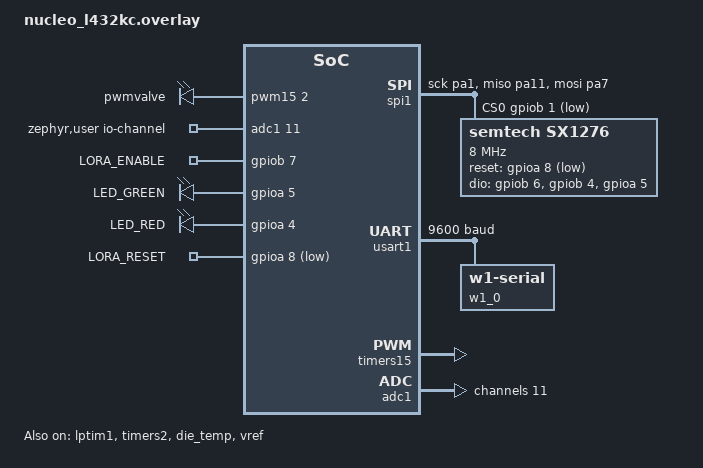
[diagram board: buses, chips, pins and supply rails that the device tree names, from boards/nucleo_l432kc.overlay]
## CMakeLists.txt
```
# SPDX-License-Identifier: Apache-2.0

cmake_minimum_required(VERSION 3.20.0)
find_package(Zephyr REQUIRED HINTS $ENV{ZEPHYR_BASE})
project(nucleo_l432kc_program)

target_sources(app PRIVATE src/main.c)
```

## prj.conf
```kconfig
CONFIG_PINCTRL=y
CONFIG_GPIO=y
CONFIG_PWM=y

CONFIG_LORA=y
CONFIG_LORA_SX127X=y

CONFIG_SPI=y

CONFIG_CBPRINTF_FP_SUPPORT=y


# Enables deep sleep modes
CONFIG_PM=y                   # Enable power management
CONFIG_PM_DEVICE=y            # For device power management
CONFIG_PM_DEVICE_RUNTIME=y
CONFIG_PM_DEVICE_SYSTEM_MANAGED=y
CONFIG_TICKLESS_KERNEL=y
CONFIG_STM32_LPTIM_TIMER=y

CONFIG_COUNTER=y

# for the 1-wire temperature sensor
CONFIG_SENSOR=y
CONFIG_W1=y

CONFIG_ADC=y

CONFIG_LOG=y
CONFIG_LOG_DEFAULT_LEVEL=3
```

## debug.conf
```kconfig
# Copyright (c) 2021 Nordic Semiconductor ASA
# SPDX-License-Identifier: Apache-2.0
#
# This is a Kconfig fragment which can be used to enable debug-related options
# in the application. See the README for more details.

# compiler
CONFIG_DEBUG_OPTIMIZATIONS=n

# logging
CONFIG_LOG=n
CONFIG_APP_LOG_LEVEL_DBG=n
```

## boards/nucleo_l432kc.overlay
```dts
// DO NOT FORGET TO REMOVE SB9 JUMPER ON THE NUCLEO BOARD

/* SX1276 LoRa module connected to Nucleo-L432KC over SPI1 */
&spi1 {
    status = "okay";
    cs-gpios = <&gpiob 1 GPIO_ACTIVE_LOW>; 
    pinctrl-0 = < &spi1_sck_pa1 &spi1_miso_pa11 &spi1_mosi_pa7 >;
    lora0: sx1276@0 {
        compatible = "semtech,sx1276";
        reg = <0>;
        label = "SX1276";
        spi-max-frequency = <DT_FREQ_M(8)>;
        status = "okay";
        reset-gpios = <&gpioa 8 GPIO_ACTIVE_LOW>;  
        dio-gpios = <&gpiob 6 (GPIO_PULL_DOWN | GPIO_ACTIVE_HIGH)>,
                    <&gpiob 4 (GPIO_PULL_DOWN | GPIO_ACTIVE_HIGH)>,
                    <&gpioa 5 (GPIO_PULL_DOWN | GPIO_ACTIVE_HIGH)>;
        power-amplifier-output = "pa-boost";
        //dio3-tcxo-voltage = <SX126X_DIO3_TCXO_1V8>;
    };
};


&usart1_tx_pa9 {
	drive-open-drain;
	bias-pull-up;
    slew-rate = "very-high-speed";
};

&can1 {
    status = "disabled";
};

&i2c1 {
    status = "disabled";
};


&lptim1 {
    status = "okay";
};


&usart1 {
    status = "okay";
    single-wire;
    current-speed = <9600>;
    w1_0: w1-zephyr-serial-0 {
		compatible = "zephyr,w1-serial";
		#address-cells = <1>;
		#size-cells = <0>;
		status = "okay";

		ds18b20-0 {
            label = "SENSOR_DS18B20_0";
            compatible = "maxim,ds18b20";
            family-code = <0x28>;
            resolution = <12>;
            status = "okay";
        };
        
        
        ds18b20-1 {
            label = "SENSOR_DS18B20_1";
            compatible = "maxim,ds18b20";
            family-code = <0x28>;
            resolution = <12>;
            status = "okay";
        };

        ds18b20-2 {
            label = "SENSOR_DS18B20_2";
            compatible = "maxim,ds18b20";
            family-code = <0x28>;
            resolution = <12>;
            status = "okay";
        };
       
        
        // already having two nodes in the device tree is enough
        // to start identifying multiple devices on the bus 
        // with their ROMs
	};
};

&rtc {
    status = "disabled";
    //clocks = <&rcc STM32_CLOCK(APB1, 10U)>;
    //wakeup-source;
};

&timers6{
    status = "disabled";
};

&timers2{
    status = "okay";
    st,prescaler = <7999>;// will count with ticks of 0.1ms
    counter2: counter{
        compatible = "st,stm32-counter";
        status = "okay";
    };
};

&timers15{
    st,prescaler = <79>;
    status = "okay";
    pwm15: pwm{
        compatible = "st,stm32-pwm";
        status = "okay";
        pinctrl-0 = <&tim15_ch2_pa3>;
        pinctrl-names = "default";
    };
};

&die_temp{
    status = "okay";
};

&adc1{
    status = "okay";
    st,adc-clock-source = "SYNC";
    st,adc-prescaler = < 4 >;
    #address-cells = <1>;
	#size-cells = <0>;
    vref-mv = <3300>;
    channel@b{
        reg = <11>;
        zephyr,gain = "ADC_GAIN_1";
		zephyr,reference = "ADC_REF_INTERNAL";
		zephyr,acquisition-time = <ADC_ACQ_TIME_DEFAULT>;
		zephyr,resolution = <12>;
    };
};

&vref {
    status = "okay";
};

/ {
    pwmleds: pwmleds{
        compatible = "pwm-leds";
        status = "okay";
        pwmvalve: tim15_ch2n_pwm{
            pwms = <&pwm15 2 PWM_MSEC(2) PWM_POLARITY_NORMAL>;
        };
    };
    aliases {
        lora0 = &lora0;
        rtc0 = &rtc;
        lora-en-pin = &lora_en;
        lora-reset-pin = &lore_reset;
        led-green-pin = &led_green;
        led-red-pin = &led_red;
        die-temp0 = &die_temp;
    };

    chosen{
        zephyr,rtc = &rtc;

        //zephyr,cortex-m-idle-timer = &rtc;
    };

    zephyr,user{
        io-channels = <&adc1 11>;
    };

    leds{
        compatible = "gpio-leds";
        status = "okay";

        lora_en: lora-en{
            gpios = <&gpiob 7 GPIO_ACTIVE_HIGH>;
            label = "LORA_ENABLE";
        };

        led_green: led-green{
            gpios = <&gpioa 5 GPIO_ACTIVE_HIGH>;
            label = "LED_GREEN";
        };

        led_red: led-red{
            gpios = <&gpioa 4 GPIO_ACTIVE_HIGH>;
            label = "LED_RED";
        };

        lore_reset: lora-reset{
            gpios = <&gpioa 8 GPIO_ACTIVE_LOW>;
            label = "LORA_RESET";
        };
    };

};
```

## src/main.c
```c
/*
 * Copyright (c) 2019 Nordic Semiconductor ASA
 *
 * SPDX-License-Identifier: Apache-2.0
 */

#include <zephyr/kernel.h>
#include <zephyr/device.h>
#include <zephyr/pm/device_runtime.h>
#include <zephyr/pm/pm.h>

#include <zephyr/drivers/gpio.h>
#include <zephyr/drivers/pwm.h>
#include <zephyr/drivers/lora.h>
#include <zephyr/drivers/counter.h>
#include <zephyr/drivers/sensor.h>
#include <zephyr/drivers/w1.h>
#include <zephyr/drivers/sensor/w1_sensor.h>
#include <zephyr/drivers/adc.h> 

#include <zephyr/sys/util.h>
#include <zephyr/sys/byteorder.h>


// Here is a description of what this program will do:
// It will mostly be asleep. Every 5 minutes it will wake up, measure the
// temperature(s), activate the valve if necessary (remember how long it
// opened that for), and send a LoRa packet with the temperature(s) and
// valve opening duration. After sending this LoRa packet, it might get
// a reply packet with new settings.




//---------------------------- DEFINES ----------------------------------------
// comment out this line to disable debug prints
#define DEBUGGING 1

// kinds of algorithms:
// 1: simple threshold-based control
// 2: ERT calculating control
#define CONTROL_ALGORITHM 1

// this defines the maximum length of a LoRa packet
#define LORA_MAX_PACKET_LEN 32

#define NUMBER_OF_TEMP_SENSORS 3

#define PWM_PHASE_FREQUENCY 250
#define PWM_TIMER_FREQUENCY 1000000

#if !DT_NODE_EXISTS(DT_PATH(zephyr_user)) || \
	!DT_NODE_HAS_PROP(DT_PATH(zephyr_user), io_channels)
#error "No suitable devicetree overlay specified"
#endif

#define DT_SPEC_AND_COMMA(node_id, prop, idx) \
	ADC_DT_SPEC_GET_BY_IDX(node_id, idx),
//------------------------ DEVICETREE INSTANCES -------------------------------

// LORA RADIO
#define LORA_NODE DT_ALIAS(lora0)
const struct device *const lora_dev = DEVICE_DT_GET(LORA_NODE);

// ONBOARD LEDs
#define LED_RED_NODE DT_ALIAS(led_red_pin)
static const struct gpio_dt_spec led_red = GPIO_DT_SPEC_GET(LED_RED_NODE, gpios);

#define LED_GREEN_NODE DT_ALIAS(led_green_pin)
static const struct gpio_dt_spec led_green = GPIO_DT_SPEC_GET(LED_GREEN_NODE, gpios);

// LORA RESET PIN
#define LORA_RESET_NODE DT_ALIAS(lora_reset_pin)
static const struct gpio_dt_spec lora_reset = GPIO_DT_SPEC_GET(LORA_RESET_NODE, gpios);

// CONSOLE UART
const struct device* const usart1_dev = DEVICE_DT_GET(DT_NODELABEL(usart1));

// COUNTER
const struct device *counter_dev = DEVICE_DT_GET(DT_NODELABEL(counter2));

// PWM
static const struct pwm_dt_spec pwm_dev = PWM_DT_SPEC_GET(DT_NODELABEL(pwmvalve));

// ADC (for battery voltage measurement)
static const struct adc_dt_spec adc_channels[] = {
	DT_FOREACH_PROP_ELEM(DT_PATH(zephyr_user), io_channels,
			     DT_SPEC_AND_COMMA)
};

// DIE TEMPERATURE
#define DIE_TEMP_NODE DT_ALIAS(die_temp0)
static const struct device *const die_temp_sensor = DEVICE_DT_GET(DIE_TEMP_NODE);

// VALVE IO
uint32_t pwm_period_in_ns = PWM_TIMER_FREQUENCY / PWM_PHASE_FREQUENCY;

//----------------------- USERSPACE VARIABLES ---------------------------------
uint8_t lora_tx_buffer[LORA_MAX_PACKET_LEN];
uint8_t lora_rx_buffer[LORA_MAX_PACKET_LEN];


// LORA config
struct lora_modem_config lora_configuration = {
	// these have to match the gateway settings!
	.frequency = 433000000,
	.bandwidth = BW_125_KHZ,
	.datarate = SF_10,
	.preamble_len = 8,
	.coding_rate = CR_4_5,
	.iq_inverted = false,
	.public_network = false,
	.tx_power = 20,
	.tx = true
};

// simple variable to hold return values
int ret;

volatile uint32_t one_second_counter = 0;
uint32_t counter_frequency;
uint16_t counter_top_value;
struct counter_alarm_cfg alarm_cfg;


// ADC variables
uint16_t adc_measurement_buffer;
struct adc_sequence sequence = {
	.buffer = &adc_measurement_buffer,
	/* buffer size in bytes, not number of samples */
	.buffer_size = sizeof(adc_measurement_buffer),
};
int32_t val_mv;
uint32_t battery_voltage_mv;

// die temperature variables
struct sensor_value die_temp;
float die_temp_celsius;

// tank temperature measurement variables
#define NUMBER_OF_TEMPERATURE_SENSORS 3
const struct device* temp_sensor_devices[NUMBER_OF_TEMPERATURE_SENSORS];
struct sensor_value temp;
struct w1_rom w1_roms[NUMBER_OF_TEMPERATURE_SENSORS];
struct sensor_value rom_values[NUMBER_OF_TEMPERATURE_SENSORS];
uint64_t rom_addresses[NUMBER_OF_TEMPERATURE_SENSORS] = {
	// TODO: THESE ARE TEMPORARY
	0x28f8a2bb00000078, // top
	0x282091c0000000eb, // middle
	0x28a91e470000006c // botttom
};
double tank_temperatures[NUMBER_OF_TEMP_SENSORS];


// control variables
#if CONTROL_ALGORITHM == 1
double tank_temperature_threshold = 70;
#endif

#if CONTROL_ALGORITHM == 2
// we need a large array of doubles to hold the ERT history
// there should be enough to look through the night?
float ert_history[128]; 
uint8_t ert_history_index = 0;
#endif



//------------------------ FUNCTION DEFINITIONS ----------------------------------

// kernel sleep forces the system to enter some power
// saving mode, use this delay instead if you don't want that
// but we do want to save power so do not use this function
static inline void blocking_sleep_ms(uint32_t ms_amount){
	uint32_t increments = ms_amount*1000*300/38;
    for(uint32_t i = 0; i < increments; i++);
}


static void counter_interrupt_callback(const struct device *dev,
                                       void *user_data) {
  // 1 second has elapsed
  one_second_counter++;
  #ifdef DEBUGGING
  //printk("Counter interrupt callback called! one_second_counter = %u\n", one_second_counter);
  #endif
}


#if CONTROL_ALGORITHM == 2
double calculate_ert(double current_temp){
	// some stuff with logarithms. The calculation is in my notebook
}
#endif

//---------------------------- MAIN FUNCTION -----------------------------------
int main(void)
{
	// CONFIGURE PERIPHERALS
	ret = pwm_set_dt(&pwm_dev, pwm_period_in_ns, 0); // turn off PWM
	gpio_pin_configure_dt(&led_red, GPIO_OUTPUT_ACTIVE);
	gpio_pin_configure_dt(&led_green, GPIO_OUTPUT_ACTIVE);
	k_msleep(1000); // wait for things to stabilize

	// DEVICE BINDINGS (TEMPERATURE SENSORS)
	temp_sensor_devices[0] =  device_get_binding("SENSOR_DS18B20_0");
	temp_sensor_devices[1] =  device_get_binding("SENSOR_DS18B20_1");
	temp_sensor_devices[2] =  device_get_binding("SENSOR_DS18B20_2");

	for(int i = 0; i < NUMBER_OF_TEMP_SENSORS; i++){
		if (!temp_sensor_devices[i] || !device_is_ready(temp_sensor_devices[i])) {
			#ifdef DEBUGGING
			printk("DS18B20 sensor device %d is not ready or found.\n", i);
			#endif
			return -1;
		}
	}

	for (int i = 0; i < NUMBER_OF_TEMP_SENSORS; i++) {
		w1_uint64_to_rom(rom_addresses[i], &w1_roms[i]);
		w1_rom_to_sensor_value(&w1_roms[i], &rom_values[i]);
	}


	// ADC SETUP
	if (!adc_is_ready_dt(&adc_channels[0])) {
		#ifdef DEBUGGING
		printk("ADC controller device %s not ready\n", adc_channels[0].dev->name);
		#endif
	}

	ret = adc_channel_setup_dt(&adc_channels[0]);
	if (ret < 0) {
		#ifdef DEBUGGING
		printk("Could not setup ADC channel (%d)\n", ret);
		#endif
	}


	while(1){
		#ifdef DEBUGGING
		printk("Program has arrived at main\n");
		#endif


		// COUNTER INIT
		one_second_counter = 0;
		counter_frequency = counter_get_frequency(counter_dev);
		
		struct counter_top_cfg counter_cfg;
		counter_cfg.ticks = counter_frequency*1; // 1 second tops
		counter_cfg.callback = counter_interrupt_callback;
		counter_cfg.flags = 0;
		counter_cfg.user_data = NULL;
		ret = counter_set_top_value(counter_dev, &counter_cfg);
		if (ret != 0) {
			#ifdef DEBUGGING
			printk("Error %d setting counter top value\n", ret);
			#endif
		}
		
		counter_start(counter_dev);
		#ifdef DEBUGGING
		printk("Counter started\n");
		#endif
		// ENDOF: COUNTER INIT


		// LED initialization
		gpio_pin_set_dt(&led_red, 1);


		// GET BATTERY VOLTAGE

		(void)adc_sequence_init_dt(&adc_channels[0], &sequence);
		ret = adc_read_dt(&adc_channels[0], &sequence);
		if (ret < 0) {
			#ifdef DEBUGGING
			printk("Could not read (%d)\n", ret);
			#endif
		}

		val_mv = (int32_t)((int16_t)adc_measurement_buffer);
		ret = adc_raw_to_millivolts_dt(&adc_channels[0],&val_mv);

		if (ret < 0) {
			#ifdef DEBUGGING
			printk(" (value in mV not available)\n");
			#endif
		} else {
			float ratio = (12200.0f / 2200.0f); // voltage divider ratio
			battery_voltage_mv = (uint32_t)((float)val_mv * ratio);
			//battery_voltage_mv = battery_voltage_mv * 13.24/13.04; // calibration factor
			#ifdef DEBUGGING
			printk("Battery voltage reading: %d mV\n", battery_voltage_mv);
			#endif
		}
		// ENDOF: GET BATTERY VOLTAGE

		// GET DIE TEMPERATURE
		ret = sensor_sample_fetch(die_temp_sensor);
		if (ret != 0) {
			#ifdef DEBUGGING
			printk("sample_fetch() failed for die temp sensor: %d\n", ret);
			k_msleep(100);
			#endif
		}

		ret = sensor_channel_get(die_temp_sensor, SENSOR_CHAN_DIE_TEMP, &die_temp);
		if (ret != 0) {
			#ifdef DEBUGGING
			printk("channel_get() failed for die temp sensor: %d\n", ret);
			k_msleep(100);
			#endif
		}
		
		die_temp_celsius = sensor_value_to_double(&die_temp);
		// print die temp
		#ifdef DEBUGGING
		printk("Die temperature: %f\n", die_temp_celsius);
		#endif

		//ENDOF: GET DIE TEMPERATURE

		// READ TEMPERATURE SENSORS
		for(int i = 0; i < NUMBER_OF_TEMP_SENSORS; i++){
			sensor_attr_set(temp_sensor_devices[i], SENSOR_CHAN_ALL,
				SENSOR_ATTR_W1_ROM, &rom_values[i]);
			ret = sensor_sample_fetch(temp_sensor_devices[i]);
			if (ret != 0) {
				#ifdef DEBUGGING
				printk("sample_fetch() failed for sensor %d: %d\n", i, ret);
				k_msleep(100);
				#endif
			}

			ret = sensor_channel_get(temp_sensor_devices[i], SENSOR_CHAN_AMBIENT_TEMP, &temp);
			if (ret != 0) {
				#ifdef DEBUGGING
				printk("channel_get() failed for sensor %d: %d\n", i, ret);
				k_msleep(100);
				#endif
			}

			tank_temperatures[i] = sensor_value_to_double(&temp);
			if(tank_temperatures[i] == 0){
				// wrong measurement. try again?
			}
			#ifdef DEBUGGING
			printk("Temp sensor %d: %f\n", i, tank_temperatures[i]);
			#endif
		}

		double tank_temperature_start = tank_temperatures[1];
		
		
		// ENDOF: READ TEMPERATURE SENSORS

		// dumbly just open the valves while we are above the voltage and temperature thresholds
		// temp threshold 50
		// voltage threshold 12.9
		//ret = pwm_set_dt(&pwm_dev, pwm_period_in_ns, pwm_period_in_ns); 
				k_msleep(500);
		while(/*battery_voltage_mv > 12400*/ die_temp_celsius < 50.0){
			#ifdef DEBUGGING
			//printk("Opening valve with modulation...\n");
			#endif
			//ret = pwm_set_dt(&pwm_dev, pwm_period_in_ns, pwm_period_in_ns*0.6); 

			// measure voltage and die temperature

			// GET DIE TEMPERATURE
			ret = sensor_sample_fetch(die_temp_sensor);
			if (ret != 0) {
				#ifdef DEBUGGING
				printk("sample_fetch() failed for die temp sensor: %d\n", ret);
				k_msleep(100);
				#endif
			}

			ret = sensor_channel_get(die_temp_sensor, SENSOR_CHAN_DIE_TEMP, &die_temp);
			if (ret != 0) {
				#ifdef DEBUGGING
				printk("channel_get() failed for die temp sensor: %d\n", ret);
				k_msleep(100);
				#endif
			}
			
			die_temp_celsius = sensor_value_to_double(&die_temp);
			// print die temp
			#ifdef DEBUGGING
			//printk("Die temperature: %f\n", die_temp_celsius);
			#endif

			// get the bottom and middle temperatures and print them
			for(int i = 0; i < NUMBER_OF_TEMP_SENSORS; i++){
				sensor_attr_set(temp_sensor_devices[i], SENSOR_CHAN_ALL,
					SENSOR_ATTR_W1_ROM, &rom_values[i]);
				ret = sensor_sample_fetch(temp_sensor_devices[i]);
				while (ret != 0) {
					#ifdef DEBUGGING
					//printk("sample_fetch() failed for sensor %d: %d\n", i, ret);
					k_msleep(100);
					#endif
					ret = sensor_sample_fetch(temp_sensor_devices[i]);
				}

				ret = sensor_channel_get(temp_sensor_devices[i], SENSOR_CHAN_AMBIENT_TEMP, &temp);
				if (ret != 0) {
					#ifdef DEBUGGING
					printk("channel_get() failed for sensor %d: %d\n", i, ret);
					k_msleep(100);
					#endif
				}

				tank_temperatures[i] = sensor_value_to_double(&temp);
				if(tank_temperatures[i] == 0){
					// wrong measurement. try again?
				}
				#ifdef DEBUGGING
				//printk("Temp sensor %d: %f\n", i, tank_temperatures[i]);
				#endif
			}
			printk("%f, %f, %f\n", tank_temperatures[0], tank_temperatures[1], tank_temperatures[2]);
			//k_msleep(1000);

		}		

		printk("Too hot or battery drained\n");
		printk("Battery voltage: %d mV, die temperature: %f C\n", battery_voltage_mv, die_temp_celsius);
		return 0;

		// CONTROL ALGORITHM

#if CONTROL_ALGORITHM == 1
		uint32_t control_loop_counter = 0; // to count how many times the valve has been opened 
		// control algorithm comes here.
		while(tank_temperatures[1] > tank_temperature_threshold && control_loop_counter < 5){ // this was 10 but then the motor drivers fried.
			// open valve until the temperature is no longer above threshold
			#ifdef DEBUGGING
			printk("Tank temperature: %f, threshold: %f \n", tank_temperatures[1], tank_temperature_threshold);
			#endif
			
			
			if(battery_voltage_mv > 13000 && die_temp_celsius < 50.0){
				// open valve for some time
				#ifdef DEBUGGING
				printk("Opening valve...\n");
				#endif
				ret = pwm_set_dt(&pwm_dev, pwm_period_in_ns, pwm_period_in_ns); 
				k_msleep(500);
				#ifdef DEBUGGING
				printk("Opening valve with modulation...\n");
				#endif
				ret = pwm_set_dt(&pwm_dev, pwm_period_in_ns, pwm_period_in_ns*0.6); 
				k_msleep(8500);
				#ifdef DEBUGGING
				printk("Closing valve...\n");
				#endif
				ret = pwm_set_dt(&pwm_dev, pwm_period_in_ns, 0); // turn off PWM
			} else {
				#ifdef DEBUGGING
				printk("Battery voltage too low to open valve: %u mV\n", battery_voltage_mv);
				#endif
				ret = pwm_set_dt(&pwm_dev, pwm_period_in_ns, 0); // turn off PWM
				break;
			}

			if (ret != 0) {
				#ifdef DEBUGGING
				printk("valve open failed: %d\n", ret);
				k_msleep(100);
				#endif
				return ret;
			}

			sensor_attr_set(temp_sensor_devices[1], SENSOR_CHAN_ALL,
				SENSOR_ATTR_W1_ROM, &rom_values[1]);
			ret = sensor_sample_fetch(temp_sensor_devices[1]);
			if (ret != 0) {
				#ifdef DEBUGGING
				printk("sample_fetch() failed for sensor %d: %d\n", 1, ret);
				k_msleep(100);
				#endif
			}

			ret = sensor_channel_get(temp_sensor_devices[1], SENSOR_CHAN_AMBIENT_TEMP, &temp);
			if (ret != 0) {
				#ifdef DEBUGGING
				printk("channel_get() failed for sensor %d: %d\n", 1, ret);
				k_msleep(100);
				#endif
			}

			tank_temperatures[1] = sensor_value_to_double(&temp);
			

			
			// measure battery voltage again
			(void)adc_sequence_init_dt(&adc_channels[0], &sequence);
			ret = adc_read_dt(&adc_channels[0], &sequence);
			if (ret < 0) {
				#ifdef DEBUGGING
				printk("Could not read (%d)\n", ret);
				#endif
			}

			val_mv = (int32_t)((int16_t)adc_measurement_buffer);
			ret = adc_raw_to_millivolts_dt(&adc_channels[0],&val_mv);

			if (ret < 0) {
				#ifdef DEBUGGING
				printk(" (value in mV not available)\n");
				#endif
			} else {
				float ratio = (12200.0f / 2200.0f); // voltage divider ratio
				battery_voltage_mv = (uint32_t)((float)val_mv * ratio);
				#ifdef DEBUGGING
				printk("Battery voltage reading: %d mV\n", battery_voltage_mv);
				#endif
			}


			
		

			control_loop_counter++; // to mark how many times the loop has run
			k_msleep(1000);
		}

		if(ret != 0){ // something is wrong if we reach here. Maybe the valves are not opening
			// we exited the control loop because we reached the maximum number of iterations
			// put an error code in the lora packet
			memset(lora_tx_buffer, 0xFF, 20); // the lora packet will be 20 bytes long in any case
		} else {
			// we exited the control loop normally, or never entered it

			uint32_t tank_temp_start_mcelsius = (uint32_t)(tank_temperature_start*1000);
			uint32_t tank_temp_end_mcelsius = (uint32_t)(tank_temperatures[1]*1000);
			uint32_t tank_temp_bottom_mcelsius = (uint32_t)(tank_temperatures[2]*1000);
			uint32_t tank_temp_top_mcelsius = (uint32_t)(tank_temperatures[0]*1000);
			uint32_t die_temp_mcelsius = (uint32_t)(die_temp_celsius*1000);

			// the data we will put in the lora packet consists of:
			// 4 bytes: battery voltage in mv
			// 4 bytes: tank temperature at the top in mC
			// 4 bytes: tank temperature at the middle in the beginning in mC
			// 4 bytes: tank temperature at the bottom in mC
			// // 4 bytes: number of times the valve was opened (uint32_t)
			// 4 bytes: tank temperature at the middle in the end in mC
			memcpy(&lora_tx_buffer[0], &battery_voltage_mv, 4);
			memcpy(&lora_tx_buffer[4], &tank_temp_top_mcelsius, 4);
			memcpy(&lora_tx_buffer[8], &tank_temp_start_mcelsius, 4);
			memcpy(&lora_tx_buffer[12], &tank_temp_bottom_mcelsius, 4);
			memcpy(&lora_tx_buffer[16], &tank_temp_end_mcelsius, 4);
			memcpy(&lora_tx_buffer[20], &die_temp_mcelsius, 4);
			//memcpy(&lora_tx_buffer[24], &tank_temp_bottom_mcelsius, 4);
			//memcpy(&lora_tx_buffer[28], &tank_temp_top_mcelsius, 4);

		}
		
		// LORA RADIO CONFIGURATION AND SEND PACKET
		// write lora config
		//gpio_pin_set_dt(&lora_en, 1);

		gpio_pin_set_dt(&lora_reset, 1);
		k_msleep(500);
		gpio_pin_set_dt(&lora_reset, 0);
		k_msleep(1500);

		gpio_pin_set_dt(&led_green, 1);

		ret = lora_config(lora_dev, &lora_configuration);
		if (ret < 0) {
			#ifdef DEBUGGING
			printk("LoRa configuration failed with error %d\n", ret);
			#endif
		}

		k_msleep(100);

		ret = lora_send(lora_dev, lora_tx_buffer, 24);
		if (ret == 0) {
		#ifdef DEBUGGING
			printk("LoRa send sucessful\n");
			k_msleep(100);
			#endif
		}
		if (ret < 0) {
			#ifdef DEBUGGING
			printk("LoRa send failed\n");
			k_msleep(100);
			#endif
		}

#endif


		// put to sleep
		#ifdef DEBUGGING
		printk("Entering sleep mode...\n");
		#endif
		// Enter deep sleep mode
		gpio_pin_set_dt(&led_green, 0);
		gpio_pin_set_dt(&led_red, 0);
		//gpio_pin_set_dt(&lora_en, 0);

		uint32_t current_ticks;
		counter_get_value(counter_dev, &current_ticks);

		counter_stop(counter_dev);
		
		k_msleep(1000*60*5 - current_ticks/10 - one_second_counter*1000); // sleep for 5 minutes
		//k_msleep(1000);
	}	

	return 0;
}
```
